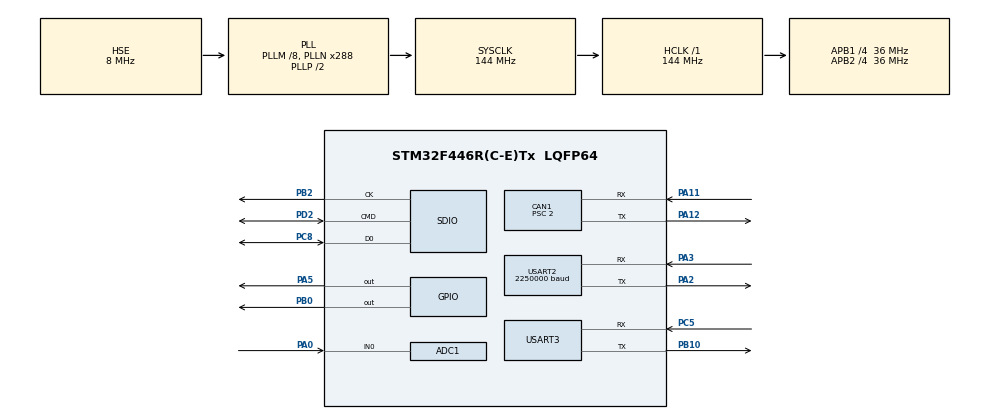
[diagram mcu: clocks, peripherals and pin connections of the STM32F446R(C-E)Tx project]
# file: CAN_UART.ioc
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ADC1.Channel-0\#ChannelRegularConversion=ADC_CHANNEL_0
ADC1.NbrOfConversionFlag=1
ADC1.Rank-0\#ChannelRegularConversion=1
ADC1.SamplingTime-0\#ChannelRegularConversion=ADC_SAMPLETIME_3CYCLES
ADC1.master=1
CAN1.BS1=CAN_BS1_12TQ
CAN1.BS2=CAN_BS2_5TQ
CAN1.CalculateTimeQuantum=55.55555555555556
CAN1.Prescaler=2
Dma.Request0=SDIO_RX
Dma.Request1=SDIO_TX
Dma.SDIO_RX.0.Direction=DMA_PERIPH_TO_MEMORY
Dma.SDIO_RX.0.FIFOMode=DMA_FIFOMODE_ENABLE
Dma.SDIO_RX.0.FIFOThreshold=DMA_FIFO_THRESHOLD_FULL
Dma.SDIO_RX.0.Instance=DMA2_Stream3
Dma.SDIO_RX.0.MemBurst=DMA_MBURST_INC4
Dma.SDIO_RX.0.MemDataAlignment=DMA_MDATAALIGN_WORD
Dma.SDIO_RX.0.MemInc=DMA_MINC_ENABLE
Dma.SDIO_RX.0.Mode=DMA_PFCTRL
Dma.SDIO_RX.0.PeriphBurst=DMA_PBURST_INC4
Dma.SDIO_RX.0.PeriphDataAlignment=DMA_PDATAALIGN_WORD
Dma.SDIO_RX.0.PeriphInc=DMA_PINC_DISABLE
Dma.SDIO_RX.0.Priority=DMA_PRIORITY_LOW
Dma.SDIO_TX.1.Direction=DMA_MEMORY_TO_PERIPH
Dma.SDIO_TX.1.FIFOMode=DMA_FIFOMODE_ENABLE
Dma.SDIO_TX.1.FIFOThreshold=DMA_FIFO_THRESHOLD_FULL
Dma.SDIO_TX.1.Instance=DMA2_Stream6
Dma.SDIO_TX.1.MemBurst=DMA_MBURST_INC4
Dma.SDIO_TX.1.MemDataAlignment=DMA_MDATAALIGN_WORD
Dma.SDIO_TX.1.MemInc=DMA_MINC_ENABLE
Dma.SDIO_TX.1.Mode=DMA_PFCTRL
Dma.SDIO_TX.1.PeriphBurst=DMA_PBURST_INC4
Dma.SDIO_TX.1.PeriphDataAlignment=DMA_PDATAALIGN_WORD
Dma.SDIO_TX.1.PeriphInc=DMA_PINC_DISABLE
Dma.SDIO_TX.1.Priority=DMA_PRIORITY_LOW
Mcu.Family=STM32F4
Mcu.Name=STM32F446R(C-E)Tx
Mcu.Package=LQFP64
NVIC.CAN1_RX0_IRQn=true\:0\:0\:false\:true\:true\:1\:true\:true
NVIC.CAN1_RX1_IRQn=true\:0\:0\:false\:true\:true\:2\:true\:true
NVIC.CAN1_SCE_IRQn=true\:0\:0\:false\:true\:true\:3\:true\:true
NVIC.DMA2_Stream3_IRQn=true\:0\:0\:false\:false\:true\:false\:true
NVIC.DMA2_Stream6_IRQn=true\:0\:0\:false\:false\:true\:false\:true
NVIC.PriorityGroup=NVIC_PRIORITYGROUP_4
NVIC.SDIO_IRQn=true\:0\:0\:false\:false\:true\:true\:true
NVIC.TIM6_DAC_IRQn=true\:0\:0\:false\:true\:true\:4\:true\:true
NVIC.TIM7_IRQn=true\:0\:0\:false\:true\:true\:5\:true\:true
NVIC.USART2_IRQn=true\:0\:0\:false\:true\:true\:6\:true\:true
NVIC.USART3_IRQn=true\:0\:0\:false\:true\:true\:7\:true\:true
PA0-WKUP.Signal=ADCx_IN0
PA11.Mode=Master
PA11.Signal=CAN1_RX
PA12.Mode=Master
PA12.Signal=CAN1_TX
PA2.Mode=Asynchronous
PA2.Signal=USART2_TX
PA3.Mode=Asynchronous
PA3.Signal=USART2_RX
PA5.GPIO_PuPd=GPIO_PULLUP
PA5.Signal=GPIO_Output
PB0.GPIO_PuPd=GPIO_PULLUP
PB0.Signal=GPIO_Output
PB10.Mode=Asynchronous
PB10.Signal=USART3_TX
PB2.Mode=SD_1_bit
PB2.Signal=SDIO_CK
PC5.Mode=Asynchronous
PC5.Signal=USART3_RX
PC8.Mode=SD_1_bit
PC8.Signal=SDIO_D0
PD2.Mode=SD_1_bit
PD2.Signal=SDIO_CMD
PH0-OSC_IN.Mode=HSE-External-Clock-Source
PH0-OSC_IN.Signal=RCC_OSC_IN
PH1-OSC_OUT.Mode=HSE-External-Clock-Source
PH1-OSC_OUT.Signal=RCC_OSC_OUT
ProjectManager.HeapSize=0x2000
ProjectManager.StackSize=0x4000
ProjectManager.TargetToolchain=Makefile
RCC.AHBFreq_Value=144000000
RCC.APB1CLKDivider=RCC_HCLK_DIV4
RCC.APB1Freq_Value=36000000
RCC.APB1TimFreq_Value=72000000
RCC.APB2CLKDivider=RCC_HCLK_DIV4
RCC.APB2Freq_Value=36000000
RCC.APB2TimFreq_Value=72000000
RCC.CortexFreq_Value=144000000
RCC.HCLKFreq_Value=144000000
RCC.HSE_VALUE=8000000
RCC.PLLM=8
RCC.PLLN=288
RCC.PLLQ=8
RCC.PLLSourceVirtual=RCC_PLLSOURCE_HSE
RCC.SYSCLKFreq_VALUE=144000000
RCC.SYSCLKSource=RCC_SYSCLKSOURCE_PLLCLK
RCC.USBFreq_Value=36000000
RCC.VCOOutputFreq_Value=288000000
SH.ADCx_IN0.0=ADC1_IN0,IN0
TIM6.Period=1000
TIM6.Prescaler=36
TIM7.Period=1999
TIM7.Prescaler=3600
USART2.BaudRate=2250000
USART2.VirtualMode=VM_ASYNC
USART3.VirtualMode=VM_ASYNC
VP_TIM6_VS_ClockSourceINT.Mode=Enable_Timer
VP_TIM7_VS_ClockSourceINT.Mode=Enable_Timer
board=Real_Antenna

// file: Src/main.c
/* USER CODE BEGIN Header */
/**
  ******************************************************************************
  * @file           : main.c
  * @brief          : Main program body
  ******************************************************************************
  * @attention
  *
  * <h2><center>&copy; Copyright (c) 2019 STMicroelectronics.
  * All rights reserved.</center></h2>
  *
  * This software component is licensed by ST under BSD 3-Clause license,
  * the "License"; You may not use this file except in compliance with the
  * License. You may obtain a copy of the License at:
  *                        opensource.org/licenses/BSD-3-Clause
  *
  ******************************************************************************
  */
/* USER CODE END Header */

#include "main.h"

/* USER CODE BEGIN Includes */

#include "string.h"

/* USER CODE END Includes */

ADC_HandleTypeDef hadc1;

CAN_HandleTypeDef hcan1;

SD_HandleTypeDef hsd;
DMA_HandleTypeDef hdma_sdio_rx;
DMA_HandleTypeDef hdma_sdio_tx;

TIM_HandleTypeDef htim6;
TIM_HandleTypeDef htim7;

UART_HandleTypeDef huart2;
UART_HandleTypeDef huart3;

/* USER CODE BEGIN PV */
CAN_FilterTypeDef sFilter;
CAN_RxHeaderTypeDef RxHeader;

int a = 0;

int cont_rx = 0;
char messagesToWrite[200][256];
int time = 0;
long int printable_time = 0;
int delta;

int mount_ok = 0;
int msg_counter = 0;
int msg_index = 0;

static TIM_HandleTypeDef a_TimerInstance6 = {.Instance = TIM6};
static TIM_HandleTypeDef a_TimerInstance7 = {.Instance = TIM7};

int interrupt_flag = 0;

uint8_t huart_rx[50];
char msg_can_to_send[50];
int cont_msg_can_to_send;
int flag_rx = 0;
int cont_huart_rx;
int cont_length_num;

/* USER CODE END PV */

void SystemClock_Config(void);
static void MX_GPIO_Init(void);
static void MX_DMA_Init(void);
static void MX_USART3_UART_Init(void);
static void MX_SDIO_SD_Init(void);
static void MX_USART2_UART_Init(void);
static void MX_CAN1_Init(void);
static void MX_TIM6_Init(void);
static void MX_TIM7_Init(void);
static void MX_ADC1_Init(void);
static void MX_NVIC_Init(void);

int main(void)
{

  /* MCU Configuration--------------------------------------------------------*/

  /* Reset of all peripherals, Initializes the Flash interface and the Systick. */
  HAL_Init();

  /* Configure the system clock */
  SystemClock_Config();

  /* Initialize all configured peripherals */
  MX_GPIO_Init();
  MX_DMA_Init();
  MX_USART3_UART_Init();
  MX_SDIO_SD_Init();
  MX_USART2_UART_Init();
  MX_CAN1_Init();
  MX_TIM6_Init();
  MX_TIM7_Init();
  MX_ADC1_Init();

  /* Initialize interrupts */
  MX_NVIC_Init();
  /* USER CODE BEGIN 2 */
  sFilter.FilterMode = CAN_FILTERMODE_IDMASK;
  sFilter.FilterIdLow = 0;
  sFilter.FilterIdHigh = 0;
  sFilter.FilterMaskIdHigh = 0;
  sFilter.FilterMaskIdLow = 0;
  sFilter.FilterFIFOAssignment = CAN_FILTER_FIFO0;
  sFilter.FilterBank = 0;
  sFilter.FilterScale = CAN_FILTERSCALE_16BIT;
  sFilter.FilterActivation = ENABLE;
  HAL_CAN_ConfigFilter(&hcan1, &sFilter);

  HAL_UART_Transmit(&huart2, (uint8_t *)"can init done_1\r\n", 17, 5);
  HAL_UART_Transmit(&huart3, (uint8_t *)"start_1\r\n", 9, 5);

  HAL_GPIO_TogglePin(GPIOB, GPIO_PIN_0);
  HAL_Delay(500);
  HAL_GPIO_TogglePin(GPIOB, GPIO_PIN_0);
  HAL_Delay(500);

  HAL_CAN_Start(&hcan1);
  HAL_CAN_ActivateNotification(&hcan1, CAN1_RX0_IRQn);
  HAL_CAN_ActivateNotification(&hcan1, CAN1_RX1_IRQn);

  HAL_UART_Transmit(&huart2, (uint8_t *)"can init done\r\n", 15, 5);
  HAL_UART_Transmit(&huart3, (uint8_t *)"start\r\n", 7, 5);

  HAL_TIM_Base_Start(&htim6);
  HAL_TIM_Base_Start_IT(&htim6);

  HAL_UART_Receive_IT(&huart2, huart_rx, 35);
  //HAL_UART_Receive_IT(&huart3, huart_rx, 35);

  char txt[200];

  /* USER CODE END 2 */

  /* Infinite loop */
  while (1)
  {

    /* USER CODE BEGIN 3 */
    a++;
    HAL_Delay(1);
    //print(&huart2,"ciao\r\n");
    //HAL_Delay(10);
    //HAL_UART_Transmit(&huart2, (uint8_t*)"ciao\r\n", 7, 5);

    if (flag_rx == 1)
    {

      flag_rx = 0;
      /*
      HAL_UART_Transmit(&huart2, (uint8_t *)msg_can_to_send, strlen(msg_can_to_send), 5);
      HAL_UART_Transmit(&huart2, (uint8_t *)"\r\n", 2, 5);
      */

      uint32_t mailbox;
      uint8_t messaggio_can[8];
      char can_id[] = {msg_can_to_send[0], msg_can_to_send[1], msg_can_to_send[2], '\0'};
      int zero = (int)('0');
      messaggio_can[0] = ((int)(msg_can_to_send[4]) - zero) * 100 + ((int)(msg_can_to_send[5]) - zero) * 10 + ((int)(msg_can_to_send[6]) - zero);
      messaggio_can[1] = ((int)(msg_can_to_send[8]) - zero) * 100 + ((int)(msg_can_to_send[9]) - zero) * 10 + ((int)(msg_can_to_send[10]) - zero);
      messaggio_can[2] = ((int)(msg_can_to_send[12]) - zero) * 100 + ((int)(msg_can_to_send[13]) - zero) * 10 + ((int)(msg_can_to_send[14]) - zero);
      messaggio_can[3] = ((int)(msg_can_to_send[16]) - zero) * 100 + ((int)(msg_can_to_send[17]) - zero) * 10 + ((int)(msg_can_to_send[18]) - zero);
      messaggio_can[4] = ((int)(msg_can_to_send[20]) - zero) * 100 + ((int)(msg_can_to_send[21]) - zero) * 10 + ((int)(msg_can_to_send[22]) - zero);
      messaggio_can[5] = ((int)(msg_can_to_send[24]) - zero) * 100 + ((int)(msg_can_to_send[25]) - zero) * 10 + ((int)(msg_can_to_send[26]) - zero);
      messaggio_can[6] = ((int)(msg_can_to_send[26]) - zero) * 100 + ((int)(msg_can_to_send[29]) - zero) * 10 + ((int)(msg_can_to_send[30]) - zero);
      messaggio_can[7] = ((int)(msg_can_to_send[30]) - zero) * 100 + ((int)(msg_can_to_send[31]) - zero) * 10 + ((int)(msg_can_to_send[34]) - zero);

      CAN_TxHeaderTypeDef TxHeader;
      TxHeader.StdId = atoi(can_id);
      TxHeader.IDE = CAN_ID_STD;
      TxHeader.RTR = CAN_RTR_DATA;
      TxHeader.DLC = 8;
      TxHeader.TransmitGlobalTime = DISABLE;

      if (HAL_CAN_GetTxMailboxesFreeLevel(&hcan1) != 0 && HAL_CAN_IsTxMessagePending(&hcan1, CAN_TX_MAILBOX0) == 0)
      {
        HAL_CAN_AddTxMessage(&hcan1, &TxHeader, messaggio_can, &mailbox);
      }
      //HAL_UART_Receive_IT(&huart2,huart_rx, 36);
      HAL_CAN_ActivateNotification(&hcan1, CAN1_RX0_IRQn);
      HAL_CAN_ActivateNotification(&hcan1, CAN1_RX1_IRQn);
    }
  }
  /* USER CODE END 3 */
}

void SystemClock_Config(void)
{
  RCC_OscInitTypeDef RCC_OscInitStruct = {0};
  RCC_ClkInitTypeDef RCC_ClkInitStruct = {0};
  RCC_PeriphCLKInitTypeDef PeriphClkInitStruct = {0};

  /** Configure the main internal regulator output voltage
  */
  __HAL_RCC_PWR_CLK_ENABLE();
  __HAL_PWR_VOLTAGESCALING_CONFIG(PWR_REGULATOR_VOLTAGE_SCALE1);
  /** Initializes the CPU, AHB and APB busses clocks
  */
  RCC_OscInitStruct.OscillatorType = RCC_OSCILLATORTYPE_HSE;
  RCC_OscInitStruct.HSEState = RCC_HSE_BYPASS;
  RCC_OscInitStruct.PLL.PLLState = RCC_PLL_ON;
  RCC_OscInitStruct.PLL.PLLSource = RCC_PLLSOURCE_HSE;
  RCC_OscInitStruct.PLL.PLLM = 8;
  RCC_OscInitStruct.PLL.PLLN = 288;
  RCC_OscInitStruct.PLL.PLLP = RCC_PLLP_DIV2;
  RCC_OscInitStruct.PLL.PLLQ = 8;
  RCC_OscInitStruct.PLL.PLLR = 2;
  if (HAL_RCC_OscConfig(&RCC_OscInitStruct) != HAL_OK)
  {
    Error_Handler();
  }
  /** Initializes the CPU, AHB and APB busses clocks
  */
  RCC_ClkInitStruct.ClockType = RCC_CLOCKTYPE_HCLK | RCC_CLOCKTYPE_SYSCLK | RCC_CLOCKTYPE_PCLK1 | RCC_CLOCKTYPE_PCLK2;
  RCC_ClkInitStruct.SYSCLKSource = RCC_SYSCLKSOURCE_PLLCLK;
  RCC_ClkInitStruct.AHBCLKDivider = RCC_SYSCLK_DIV1;
  RCC_ClkInitStruct.APB1CLKDivider = RCC_HCLK_DIV4;
  RCC_ClkInitStruct.APB2CLKDivider = RCC_HCLK_DIV4;

  if (HAL_RCC_ClockConfig(&RCC_ClkInitStruct, FLASH_LATENCY_4) != HAL_OK)
  {
    Error_Handler();
  }
  PeriphClkInitStruct.PeriphClockSelection = RCC_PERIPHCLK_SDIO | RCC_PERIPHCLK_CLK48;
  PeriphClkInitStruct.Clk48ClockSelection = RCC_CLK48CLKSOURCE_PLLQ;
  PeriphClkInitStruct.SdioClockSelection = RCC_SDIOCLKSOURCE_CLK48;
  if (HAL_RCCEx_PeriphCLKConfig(&PeriphClkInitStruct) != HAL_OK)
  {
    Error_Handler();
  }
}

/**
  * @brief NVIC Configuration.
  * @retval None
  */
static void MX_NVIC_Init(void)
{
  /* CAN1_RX0_IRQn interrupt configuration */
  HAL_NVIC_SetPriority(CAN1_RX0_IRQn, 10, 10);
  HAL_NVIC_EnableIRQ(CAN1_RX0_IRQn);
  /* CAN1_RX1_IRQn interrupt configuration */
  HAL_NVIC_SetPriority(CAN1_RX1_IRQn, 10, 10);
  HAL_NVIC_EnableIRQ(CAN1_RX1_IRQn);
  /* CAN1_SCE_IRQn interrupt configuration */
  HAL_NVIC_SetPriority(CAN1_SCE_IRQn, 10, 10);
  HAL_NVIC_EnableIRQ(CAN1_SCE_IRQn);
  /* TIM6_DAC_IRQn interrupt configuration */
  HAL_NVIC_SetPriority(TIM6_DAC_IRQn, 0, 0);
  HAL_NVIC_EnableIRQ(TIM6_DAC_IRQn);
  /* TIM7_IRQn interrupt configuration */
  HAL_NVIC_SetPriority(TIM7_IRQn, 0, 0);
  HAL_NVIC_EnableIRQ(TIM7_IRQn);
  /* USART2_IRQn interrupt configuration */
  HAL_NVIC_SetPriority(USART2_IRQn, 0, 0);
  HAL_NVIC_EnableIRQ(USART2_IRQn);
  /* USART3_IRQn interrupt configuration */
  HAL_NVIC_SetPriority(USART3_IRQn, 0, 0);
  HAL_NVIC_EnableIRQ(USART3_IRQn);
}

static void MX_ADC1_Init(void)
{

  ADC_ChannelConfTypeDef sConfig = {0};

  /** Configure the global features of the ADC (Clock, Resolution, Data Alignment and number of conversion)
  */
  hadc1.Instance = ADC1;
  hadc1.Init.ClockPrescaler = ADC_CLOCK_SYNC_PCLK_DIV2;
  hadc1.Init.Resolution = ADC_RESOLUTION_12B;
  hadc1.Init.ScanConvMode = DISABLE;
  hadc1.Init.ContinuousConvMode = DISABLE;
  hadc1.Init.DiscontinuousConvMode = DISABLE;
  hadc1.Init.ExternalTrigConvEdge = ADC_EXTERNALTRIGCONVEDGE_NONE;
  hadc1.Init.ExternalTrigConv = ADC_SOFTWARE_START;
  hadc1.Init.DataAlign = ADC_DATAALIGN_RIGHT;
  hadc1.Init.NbrOfConversion = 1;
  hadc1.Init.DMAContinuousRequests = DISABLE;
  hadc1.Init.EOCSelection = ADC_EOC_SINGLE_CONV;
  if (HAL_ADC_Init(&hadc1) != HAL_OK)
  {
    Error_Handler();
  }
  /** Configure for the selected ADC regular channel its corresponding rank in the sequencer and its sample time.
  */
  sConfig.Channel = ADC_CHANNEL_0;
  sConfig.Rank = 1;
  sConfig.SamplingTime = ADC_SAMPLETIME_3CYCLES;
  if (HAL_ADC_ConfigChannel(&hadc1, &sConfig) != HAL_OK)
  {
    Error_Handler();
  }
}

static void MX_CAN1_Init(void)
{

  hcan1.Instance = CAN1;
  hcan1.Init.Prescaler = 2;
  hcan1.Init.Mode = CAN_MODE_NORMAL;
  hcan1.Init.SyncJumpWidth = CAN_SJW_1TQ;
  hcan1.Init.TimeSeg1 = CAN_BS1_12TQ;
  hcan1.Init.TimeSeg2 = CAN_BS2_5TQ;
  hcan1.Init.TimeTriggeredMode = DISABLE;
  hcan1.Init.AutoBusOff = DISABLE;
  hcan1.Init.AutoWakeUp = DISABLE;
  hcan1.Init.AutoRetransmission = DISABLE;
  hcan1.Init.ReceiveFifoLocked = DISABLE;
  hcan1.Init.TransmitFifoPriority = DISABLE;
  if (HAL_CAN_Init(&hcan1) != HAL_OK)
  {
    Error_Handler();
  }
}

static void MX_SDIO_SD_Init(void)
{

  hsd.Instance = SDIO;
  hsd.Init.ClockEdge = SDIO_CLOCK_EDGE_RISING;
  hsd.Init.ClockBypass = SDIO_CLOCK_BYPASS_DISABLE;
  hsd.Init.ClockPowerSave = SDIO_CLOCK_POWER_SAVE_DISABLE;
  hsd.Init.BusWide = SDIO_BUS_WIDE_1B;
  hsd.Init.HardwareFlowControl = SDIO_HARDWARE_FLOW_CONTROL_DISABLE;
  hsd.Init.ClockDiv = 0;
  if (HAL_SD_Init(&hsd) != HAL_OK)
  {
    Error_Handler();
  }
}

static void MX_TIM6_Init(void)
{

  TIM_MasterConfigTypeDef sMasterConfig = {0};

  htim6.Instance = TIM6;
  htim6.Init.Prescaler = 36;
  htim6.Init.CounterMode = TIM_COUNTERMODE_UP;
  htim6.Init.Period = 1000;
  htim6.Init.AutoReloadPreload = TIM_AUTORELOAD_PRELOAD_DISABLE;
  if (HAL_TIM_Base_Init(&htim6) != HAL_OK)
  {
    Error_Handler();
  }
  sMasterConfig.MasterOutputTrigger = TIM_TRGO_RESET;
  sMasterConfig.MasterSlaveMode = TIM_MASTERSLAVEMODE_DISABLE;
  if (HAL_TIMEx_MasterConfigSynchronization(&htim6, &sMasterConfig) != HAL_OK)
  {
    Error_Handler();
  }
}

static void MX_TIM7_Init(void)
{

  TIM_MasterConfigTypeDef sMasterConfig = {0};

  htim7.Instance = TIM7;
  htim7.Init.Prescaler = 3600;
  htim7.Init.CounterMode = TIM_COUNTERMODE_UP;
  htim7.Init.Period = 1999;
  htim7.Init.AutoReloadPreload = TIM_AUTORELOAD_PRELOAD_DISABLE;
  if (HAL_TIM_Base_Init(&htim7) != HAL_OK)
  {
    Error_Handler();
  }
  sMasterConfig.MasterOutputTrigger = TIM_TRGO_RESET;
  sMasterConfig.MasterSlaveMode = TIM_MASTERSLAVEMODE_DISABLE;
  if (HAL_TIMEx_MasterConfigSynchronization(&htim7, &sMasterConfig) != HAL_OK)
  {
    Error_Handler();
  }
}

static void MX_USART2_UART_Init(void)
{

  huart2.Instance = USART2;
  huart2.Init.BaudRate = 115200;
  huart2.Init.WordLength = UART_WORDLENGTH_8B;
  huart2.Init.StopBits = UART_STOPBITS_1;
  huart2.Init.Parity = UART_PARITY_NONE;
  huart2.Init.Mode = UART_MODE_TX_RX;
  huart2.Init.HwFlowCtl = UART_HWCONTROL_NONE;
  huart2.Init.OverSampling = UART_OVERSAMPLING_8;
  if (HAL_UART_Init(&huart2) != HAL_OK)
  {
    Error_Handler();
  }
}

static void MX_USART3_UART_Init(void)
{

  huart3.Instance = USART3;
  huart3.Init.BaudRate = 115200;
  huart3.Init.WordLength = UART_WORDLENGTH_8B;
  huart3.Init.StopBits = UART_STOPBITS_1;
  huart3.Init.Parity = UART_PARITY_NONE;
  huart3.Init.Mode = UART_MODE_TX_RX;
  huart3.Init.HwFlowCtl = UART_HWCONTROL_NONE;
  huart3.Init.OverSampling = UART_OVERSAMPLING_16;
  if (HAL_UART_Init(&huart3) != HAL_OK)
  {
    Error_Handler();
  }
}

static void MX_DMA_Init(void)
{

  /* DMA controller clock enable */
  __HAL_RCC_DMA2_CLK_ENABLE();

  /* DMA interrupt init */
  /* DMA2_Stream3_IRQn interrupt configuration */
  HAL_NVIC_SetPriority(DMA2_Stream3_IRQn, 0, 0);
  HAL_NVIC_EnableIRQ(DMA2_Stream3_IRQn);
  /* DMA2_Stream6_IRQn interrupt configuration */
  HAL_NVIC_SetPriority(DMA2_Stream6_IRQn, 0, 0);
  HAL_NVIC_EnableIRQ(DMA2_Stream6_IRQn);
}

static void MX_GPIO_Init(void)
{
  GPIO_InitTypeDef GPIO_InitStruct = {0};

  /* GPIO Ports Clock Enable */
  __HAL_RCC_GPIOH_CLK_ENABLE();
  __HAL_RCC_GPIOA_CLK_ENABLE();
  __HAL_RCC_GPIOC_CLK_ENABLE();
  __HAL_RCC_GPIOB_CLK_ENABLE();
  __HAL_RCC_GPIOD_CLK_ENABLE();

  /*Configure GPIO pin Output Level */
  HAL_GPIO_WritePin(GPIOA, GPIO_PIN_5, GPIO_PIN_RESET);

  /*Configure GPIO pin Output Level */
  HAL_GPIO_WritePin(GPIOB, GPIO_PIN_0, GPIO_PIN_RESET);

  /*Configure GPIO pin : PA5 */
  GPIO_InitStruct.Pin = GPIO_PIN_5;
  GPIO_InitStruct.Mode = GPIO_MODE_OUTPUT_PP;
  GPIO_InitStruct.Pull = GPIO_PULLUP;
  GPIO_InitStruct.Speed = GPIO_SPEED_FREQ_LOW;
  HAL_GPIO_Init(GPIOA, &GPIO_InitStruct);

  /*Configure GPIO pin : PB0 */
  GPIO_InitStruct.Pin = GPIO_PIN_0;
  GPIO_InitStruct.Mode = GPIO_MODE_OUTPUT_PP;
  GPIO_InitStruct.Pull = GPIO_PULLUP;
  GPIO_InitStruct.Speed = GPIO_SPEED_FREQ_LOW;
  HAL_GPIO_Init(GPIOB, &GPIO_InitStruct);
}

/* USER CODE BEGIN 4 */

int CAN_Send(char *msg_can)
{

  uint32_t mailbox;
  uint8_t flag = 0;

  char msg_id[3];
  msg_id[0] = msg_can[0];
  msg_id[1] = msg_can[1];
  msg_id[2] = '\0';

  CAN_TxHeaderTypeDef TxHeader;
  TxHeader.StdId = (uint32_t)atoi(msg_id);
  TxHeader.IDE = CAN_ID_STD;
  TxHeader.RTR = CAN_RTR_DATA;
  TxHeader.DLC = 8;
  TxHeader.TransmitGlobalTime = DISABLE;

  return 1;
}

int CAN_Receive(uint8_t *DataRx, int size)
{

  if (HAL_CAN_GetRxFifoFillLevel(&hcan1, CAN_RX_FIFO0) != 0)
  {
    HAL_CAN_GetRxMessage(&hcan1, CAN_RX_FIFO0, &RxHeader, DataRx);
  }

  int id = RxHeader.StdId;

  return id;
}
void HAL_CAN_RxFifo0FullCallback(CAN_HandleTypeDef *hcan)
{
  uint8_t RxData[8];
  int id;
  id = CAN_Receive(RxData, 8);
  cont_rx++;
  //int time = secondsElapsed * 1000 + __HAL_TIM_GET_COUNTER(&htim6) / 20; //20 ticks for each millisecond
  //printable_time=time*1000+ __HAL_TIM_GET_COUNTER(&htim6);
  delta = 0;
  mount_ok = 1;
  if (mount_ok == 1)
  {
    msg_index++;
    printable_time = time * 1000 + __HAL_TIM_GET_COUNTER(&htim6);
    msg_counter++;
    //sprintf(messagesToWrite[msg_index], "%d\t%d\t%d\t%d\t%d\t%d\t%d\t%d\t%d\r\n", time, msg_index, 000, 2, 3, 4, 5, 6, 7);
    sprintf(messagesToWrite[msg_index], "%ld\t%d\t%u\t%u\t%u\t%u\t%u\t%u\t%u\t%u\r\n", printable_time, id, RxData[0], RxData[1], RxData[2], RxData[3], RxData[4], RxData[5], RxData[6], RxData[7]);
    HAL_GPIO_TogglePin(GPIOB, GPIO_PIN_0);
    //print(&huart2,messagesToWrite[msg_index]);
    //HAL_UART_Transmit(&huart2, (uint8_t *)messagesToWrite[msg_index], (uint16_t)strlen(messagesToWrite[msg_index]), 100);
    HAL_UART_Transmit(&huart3, (uint8_t *)messagesToWrite[msg_index], (uint16_t)strlen(messagesToWrite[msg_index]), 100);
    /*char printable_time_s[100];
		sprintf(printable_time_s,"%d\r\n",printable_time);
		print(&huart2,printable_time_s);*/
    msg_counter = 0;
    msg_index = 0;
  }
}
void HAL_UART_RxCpltCallback(UART_HandleTypeDef *huart)
{

  HAL_CAN_DeactivateNotification(&hcan1, CAN1_RX0_IRQn);
  HAL_CAN_DeactivateNotification(&hcan1, CAN1_RX1_IRQn);

  flag_rx = 1;
  for (int i = 0; i < 35; i++)
  {
    msg_can_to_send[i] = huart_rx[i];
  }
  msg_can_to_send[35] = '\0';

  /*
  HAL_UART_Transmit(&huart2, (uint8_t *)msg_can_to_send, strlen(msg_can_to_send), 5);
  HAL_UART_Transmit(&huart2, (uint8_t *)"\r\n", 2, 5);
  */

  //HAL_UART_Receive_IT(&huart3, huart_rx, 35);
  HAL_UART_Receive_IT(&huart2, huart_rx, 35);
}
/* USER CODE END 4 */

void Error_Handler(void)
{
}

/************************ (C) COPYRIGHT STMicroelectronics *****END OF FILE****/
